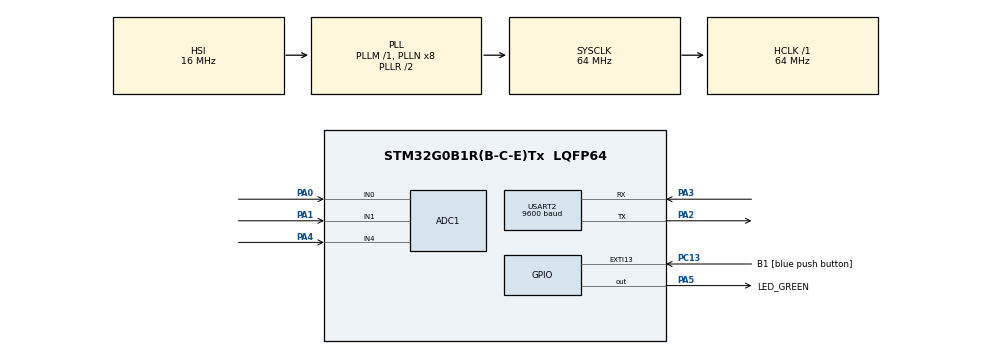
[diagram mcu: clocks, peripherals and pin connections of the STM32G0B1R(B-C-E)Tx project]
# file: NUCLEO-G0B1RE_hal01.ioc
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ADC1.Channel-4\#ChannelRegularConversion=ADC_CHANNEL_0
ADC1.Channel-5\#ChannelRegularConversion=ADC_CHANNEL_1
ADC1.Channel-6\#ChannelRegularConversion=ADC_CHANNEL_4
ADC1.ContinuousConvMode=ENABLE
ADC1.DMAContinuousRequests=DISABLE
ADC1.DiscontinuousConvMode=DISABLE
ADC1.EOCSelection=ADC_EOC_SEQ_CONV
ADC1.NbrOfConversion=3
ADC1.NbrOfConversionFlag=1
ADC1.Overrun=ADC_OVR_DATA_OVERWRITTEN
ADC1.Rank-4\#ChannelRegularConversion=1
ADC1.Rank-5\#ChannelRegularConversion=2
ADC1.Rank-6\#ChannelRegularConversion=3
ADC1.SamplingTime-4\#ChannelRegularConversion=ADC_SAMPLINGTIME_COMMON_1
ADC1.SamplingTime-5\#ChannelRegularConversion=ADC_SAMPLINGTIME_COMMON_1
ADC1.SamplingTime-6\#ChannelRegularConversion=ADC_SAMPLINGTIME_COMMON_1
ADC1.SamplingTimeCommon2=ADC_SAMPLETIME_160CYCLES_5
ADC1.SelectedChannel=ADC_CHANNEL_0|ADC_CHANNEL_1|ADC_CHANNEL_4
ADC1.Sequencer=FULLY_CONFIGURABLE
ADC1.master=1
Dma.ADC1.0.Direction=DMA_PERIPH_TO_MEMORY
Dma.ADC1.0.EventEnable=DISABLE
Dma.ADC1.0.Instance=DMA1_Channel1
Dma.ADC1.0.MemDataAlignment=DMA_MDATAALIGN_HALFWORD
Dma.ADC1.0.MemInc=DMA_MINC_ENABLE
Dma.ADC1.0.Mode=DMA_NORMAL
Dma.ADC1.0.PeriphDataAlignment=DMA_PDATAALIGN_HALFWORD
Dma.ADC1.0.PeriphInc=DMA_PINC_DISABLE
Dma.ADC1.0.Polarity=HAL_DMAMUX_REQ_GEN_RISING
Dma.ADC1.0.Priority=DMA_PRIORITY_HIGH
Dma.ADC1.0.RequestNumber=1
Dma.ADC1.0.SignalID=NONE
Dma.ADC1.0.SyncEnable=DISABLE
Dma.ADC1.0.SyncPolarity=HAL_DMAMUX_SYNC_NO_EVENT
Dma.ADC1.0.SyncRequestNumber=1
Dma.ADC1.0.SyncSignalID=NONE
Dma.Request0=ADC1
Mcu.Family=STM32G0
Mcu.Name=STM32G0B1R(B-C-E)Tx
Mcu.Package=LQFP64
NVIC.ADC1_COMP_IRQn=true\:0\:0\:false\:false\:true\:true\:true\:true
NVIC.DMA1_Channel1_IRQn=true\:0\:0\:false\:false\:true\:false\:true\:true
NVIC.TIM6_DAC_LPTIM1_IRQn=true\:0\:0\:false\:false\:true\:true\:true\:true
NVIC.USART2_LPUART2_IRQn=true\:0\:0\:false\:false\:true\:true\:true\:true
PA0.Mode=IN0
PA0.Signal=ADC1_IN0
PA1.Mode=IN1
PA1.Signal=ADC1_IN1
PA13.GPIO_Label=TMS
PA13.Signal=SYS_SWDIO
PA14-BOOT0.GPIO_Label=TCK
PA14-BOOT0.Signal=SYS_SWCLK
PA2.Mode=Asynchronous
PA2.Signal=USART2_TX
PA3.Mode=Asynchronous
PA3.Signal=USART2_RX
PA4.Mode=IN4
PA4.Signal=ADC1_IN4
PA5.GPIO_Label=LED_GREEN
PA5.GPIO_Speed=GPIO_SPEED_FREQ_HIGH
PA5.Signal=GPIO_Output
PC13.GPIO_Label=B1 [blue push button]
PC13.Signal=GPXTI13
PC14-OSC32_IN\ (PC14).Mode=LSE-External-Oscillator
PC14-OSC32_IN\ (PC14).Signal=RCC_OSC32_IN
PC15-OSC32_OUT\ (PC15).Mode=LSE-External-Oscillator
PC15-OSC32_OUT\ (PC15).Signal=RCC_OSC32_OUT
PF0-OSC_IN\ (PF0).GPIO_Label=MCO
PF0-OSC_IN\ (PF0).Signal=RCC_OSC_IN
ProjectManager.HeapSize=0x200
ProjectManager.StackSize=0x400
ProjectManager.TargetToolchain=STM32CubeIDE
RCC.ADCFreq_Value=64000000
RCC.AHBFreq_Value=64000000
RCC.CortexFreq_Value=64000000
RCC.EXTERNAL_CLOCK_VALUE=12288000
RCC.HCLKFreq_Value=64000000
RCC.HSE_VALUE=8000000
RCC.HSI48_VALUE=48000000
RCC.HSI_VALUE=16000000
RCC.SYSCLKFreq_VALUE=64000000
RCC.SYSCLKSource=RCC_SYSCLKSOURCE_PLLCLK
RCC.USBFreq_Value=48000000
RCC.VCOOutputFreq_Value=128000000
TIM6.Period=8000-1
TIM6.Prescaler=8-1
USART2.BaudRate=9600
USART2.FIFOMode=FIFOMODE_ENABLE
USART2.VirtualMode-Asynchronous=VM_ASYNC
VP_SYS_VS_DBSignals.Mode=DisableDeadBatterySignals
VP_TIM6_VS_ClockSourceINT.Mode=Enable_Timer
board=NUCLEO-G0B1RE

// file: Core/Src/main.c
/* USER CODE BEGIN Header */
/**
  ******************************************************************************
  * @file           : main.c
  * @brief          : Main program body
  ******************************************************************************
  * @attention
  *
  * Copyright (c) 2024 STMicroelectronics.
  * All rights reserved.
  *
  * This software is licensed under terms that can be found in the LICENSE file
  * in the root directory of this software component.
  * If no LICENSE file comes with this software, it is provided AS-IS.
  *
  ******************************************************************************
  */
/* USER CODE END Header */
#include "main.h"

/* USER CODE BEGIN Includes */
#include "lib.h"
/* USER CODE END Includes */

ADC_HandleTypeDef hadc1;
DMA_HandleTypeDef hdma_adc1;

TIM_HandleTypeDef htim6;

UART_HandleTypeDef huart2;

/* USER CODE BEGIN PV */
volatile static uint32_t u32s_CycleTimeCounter;		/* 周期時間カウンター			*/
/* USER CODE END PV */

void SystemClock_Config(void);
static void MX_GPIO_Init(void);
static void MX_DMA_Init(void);
static void MX_TIM6_Init(void);
static void MX_USART2_UART_Init(void);
static void MX_ADC1_Init(void);

/* USER CODE BEGIN 0 */

/**
  * @brief Period elapsed callback in non-blocking mode
  * @param htim TIM handle
  * @retval None
  */
void HAL_TIM_PeriodElapsedCallback(TIM_HandleTypeDef *htim)
{
	if (htim == &htim6) {
		u32s_CycleTimeCounter++;
	}
}

/* USER CODE END 0 */

int main(void)
{

  /* MCU Configuration--------------------------------------------------------*/

  /* Reset of all peripherals, Initializes the Flash interface and the Systick. */
  HAL_Init();

  /* USER CODE BEGIN Init */
	u32s_CycleTimeCounter = 0;
  /* USER CODE END Init */

  /* Configure the system clock */
  SystemClock_Config();

  /* USER CODE BEGIN SysInit */
	/* タイマー初期化処理 */
	taskTimerInit();
  /* USER CODE END SysInit */

  /* Initialize all configured peripherals */
  MX_GPIO_Init();
  MX_DMA_Init();
  MX_TIM6_Init();
  MX_USART2_UART_Init();
  MX_ADC1_Init();
  /* USER CODE BEGIN 2 */
	/* 初期化関数 */
	setup();

	/* TIM6のタイマー開始(1msタイマー割り込み用) */
	if (HAL_TIM_Base_Start_IT(&htim6) != HAL_OK) {
		/* Starting Error */
		Error_Handler();
	}
  /* USER CODE END 2 */

  /* Infinite loop */
  /* USER CODE BEGIN WHILE */
	while (true) {
    /* USER CODE END WHILE */

    /* USER CODE BEGIN 3 */
		/* 周期時間カウンターがシステムの周期時間[ms]に達した場合 */
		if (u32s_CycleTimeCounter >= SYS_CYCLE_TIME) {
			/* Disable Interrupts */
			__disable_irq();
			u32s_CycleTimeCounter = 0;
			/* Enable Interrupts */
			__enable_irq();

			/* タイマー更新処理 */
			taskTimerUpdate();
			/* 周期処理関数 */
			loop();
		}
	}
  /* USER CODE END 3 */
}

void SystemClock_Config(void)
{
  RCC_OscInitTypeDef RCC_OscInitStruct = {0};
  RCC_ClkInitTypeDef RCC_ClkInitStruct = {0};

  /** Configure the main internal regulator output voltage
  */
  HAL_PWREx_ControlVoltageScaling(PWR_REGULATOR_VOLTAGE_SCALE1);

  /** Initializes the RCC Oscillators according to the specified parameters
  * in the RCC_OscInitTypeDef structure.
  */
  RCC_OscInitStruct.OscillatorType = RCC_OSCILLATORTYPE_HSI;
  RCC_OscInitStruct.HSIState = RCC_HSI_ON;
  RCC_OscInitStruct.HSIDiv = RCC_HSI_DIV1;
  RCC_OscInitStruct.HSICalibrationValue = RCC_HSICALIBRATION_DEFAULT;
  RCC_OscInitStruct.PLL.PLLState = RCC_PLL_ON;
  RCC_OscInitStruct.PLL.PLLSource = RCC_PLLSOURCE_HSI;
  RCC_OscInitStruct.PLL.PLLM = RCC_PLLM_DIV1;
  RCC_OscInitStruct.PLL.PLLN = 8;
  RCC_OscInitStruct.PLL.PLLP = RCC_PLLP_DIV2;
  RCC_OscInitStruct.PLL.PLLQ = RCC_PLLQ_DIV2;
  RCC_OscInitStruct.PLL.PLLR = RCC_PLLR_DIV2;
  if (HAL_RCC_OscConfig(&RCC_OscInitStruct) != HAL_OK)
  {
    Error_Handler();
  }

  /** Initializes the CPU, AHB and APB buses clocks
  */
  RCC_ClkInitStruct.ClockType = RCC_CLOCKTYPE_HCLK|RCC_CLOCKTYPE_SYSCLK
                              |RCC_CLOCKTYPE_PCLK1;
  RCC_ClkInitStruct.SYSCLKSource = RCC_SYSCLKSOURCE_PLLCLK;
  RCC_ClkInitStruct.AHBCLKDivider = RCC_SYSCLK_DIV1;
  RCC_ClkInitStruct.APB1CLKDivider = RCC_HCLK_DIV1;

  if (HAL_RCC_ClockConfig(&RCC_ClkInitStruct, FLASH_LATENCY_2) != HAL_OK)
  {
    Error_Handler();
  }
}

static void MX_ADC1_Init(void)
{

  ADC_ChannelConfTypeDef sConfig = {0};

  /** Configure the global features of the ADC (Clock, Resolution, Data Alignment and number of conversion)
  */
  hadc1.Instance = ADC1;
  hadc1.Init.ClockPrescaler = ADC_CLOCK_SYNC_PCLK_DIV2;
  hadc1.Init.Resolution = ADC_RESOLUTION_12B;
  hadc1.Init.DataAlign = ADC_DATAALIGN_RIGHT;
  hadc1.Init.ScanConvMode = ADC_SCAN_ENABLE;
  hadc1.Init.EOCSelection = ADC_EOC_SEQ_CONV;
  hadc1.Init.LowPowerAutoWait = DISABLE;
  hadc1.Init.LowPowerAutoPowerOff = DISABLE;
  hadc1.Init.ContinuousConvMode = ENABLE;
  hadc1.Init.NbrOfConversion = 3;
  hadc1.Init.DiscontinuousConvMode = DISABLE;
  hadc1.Init.ExternalTrigConv = ADC_SOFTWARE_START;
  hadc1.Init.ExternalTrigConvEdge = ADC_EXTERNALTRIGCONVEDGE_NONE;
  hadc1.Init.DMAContinuousRequests = DISABLE;
  hadc1.Init.Overrun = ADC_OVR_DATA_OVERWRITTEN;
  hadc1.Init.SamplingTimeCommon1 = ADC_SAMPLETIME_1CYCLE_5;
  hadc1.Init.SamplingTimeCommon2 = ADC_SAMPLETIME_160CYCLES_5;
  hadc1.Init.OversamplingMode = DISABLE;
  hadc1.Init.TriggerFrequencyMode = ADC_TRIGGER_FREQ_HIGH;
  if (HAL_ADC_Init(&hadc1) != HAL_OK)
  {
    Error_Handler();
  }

  /** Configure Regular Channel
  */
  sConfig.Channel = ADC_CHANNEL_0;
  sConfig.Rank = ADC_REGULAR_RANK_1;
  sConfig.SamplingTime = ADC_SAMPLINGTIME_COMMON_1;
  if (HAL_ADC_ConfigChannel(&hadc1, &sConfig) != HAL_OK)
  {
    Error_Handler();
  }

  /** Configure Regular Channel
  */
  sConfig.Channel = ADC_CHANNEL_1;
  sConfig.Rank = ADC_REGULAR_RANK_2;
  if (HAL_ADC_ConfigChannel(&hadc1, &sConfig) != HAL_OK)
  {
    Error_Handler();
  }

  /** Configure Regular Channel
  */
  sConfig.Channel = ADC_CHANNEL_4;
  sConfig.Rank = ADC_REGULAR_RANK_3;
  if (HAL_ADC_ConfigChannel(&hadc1, &sConfig) != HAL_OK)
  {
    Error_Handler();
  }

}

static void MX_TIM6_Init(void)
{

  TIM_MasterConfigTypeDef sMasterConfig = {0};

  htim6.Instance = TIM6;
  htim6.Init.Prescaler = 8-1;
  htim6.Init.CounterMode = TIM_COUNTERMODE_UP;
  htim6.Init.Period = 8000-1;
  htim6.Init.AutoReloadPreload = TIM_AUTORELOAD_PRELOAD_DISABLE;
  if (HAL_TIM_Base_Init(&htim6) != HAL_OK)
  {
    Error_Handler();
  }
  sMasterConfig.MasterOutputTrigger = TIM_TRGO_RESET;
  sMasterConfig.MasterSlaveMode = TIM_MASTERSLAVEMODE_DISABLE;
  if (HAL_TIMEx_MasterConfigSynchronization(&htim6, &sMasterConfig) != HAL_OK)
  {
    Error_Handler();
  }

}

static void MX_USART2_UART_Init(void)
{

  huart2.Instance = USART2;
  huart2.Init.BaudRate = 9600;
  huart2.Init.WordLength = UART_WORDLENGTH_8B;
  huart2.Init.StopBits = UART_STOPBITS_1;
  huart2.Init.Parity = UART_PARITY_NONE;
  huart2.Init.Mode = UART_MODE_TX_RX;
  huart2.Init.HwFlowCtl = UART_HWCONTROL_NONE;
  huart2.Init.OverSampling = UART_OVERSAMPLING_16;
  huart2.Init.OneBitSampling = UART_ONE_BIT_SAMPLE_DISABLE;
  huart2.Init.ClockPrescaler = UART_PRESCALER_DIV1;
  huart2.AdvancedInit.AdvFeatureInit = UART_ADVFEATURE_NO_INIT;
  if (HAL_UART_Init(&huart2) != HAL_OK)
  {
    Error_Handler();
  }
  if (HAL_UARTEx_SetTxFifoThreshold(&huart2, UART_TXFIFO_THRESHOLD_1_8) != HAL_OK)
  {
    Error_Handler();
  }
  if (HAL_UARTEx_SetRxFifoThreshold(&huart2, UART_RXFIFO_THRESHOLD_1_8) != HAL_OK)
  {
    Error_Handler();
  }
  if (HAL_UARTEx_EnableFifoMode(&huart2) != HAL_OK)
  {
    Error_Handler();
  }

}

static void MX_DMA_Init(void)
{

  /* DMA controller clock enable */
  __HAL_RCC_DMA1_CLK_ENABLE();

  /* DMA interrupt init */
  /* DMA1_Channel1_IRQn interrupt configuration */
  HAL_NVIC_SetPriority(DMA1_Channel1_IRQn, 0, 0);
  HAL_NVIC_EnableIRQ(DMA1_Channel1_IRQn);

}

static void MX_GPIO_Init(void)
{
  GPIO_InitTypeDef GPIO_InitStruct = {0};

  /* GPIO Ports Clock Enable */
  __HAL_RCC_GPIOC_CLK_ENABLE();
  __HAL_RCC_GPIOF_CLK_ENABLE();
  __HAL_RCC_GPIOA_CLK_ENABLE();

  /*Configure GPIO pin Output Level */
  HAL_GPIO_WritePin(LED_GREEN_GPIO_Port, LED_GREEN_Pin, GPIO_PIN_RESET);

  /*Configure GPIO pin : B1_Pin */
  GPIO_InitStruct.Pin = B1_Pin;
  GPIO_InitStruct.Mode = GPIO_MODE_IT_RISING;
  GPIO_InitStruct.Pull = GPIO_NOPULL;
  HAL_GPIO_Init(B1_GPIO_Port, &GPIO_InitStruct);

  /*Configure GPIO pin : LED_GREEN_Pin */
  GPIO_InitStruct.Pin = LED_GREEN_Pin;
  GPIO_InitStruct.Mode = GPIO_MODE_OUTPUT_PP;
  GPIO_InitStruct.Pull = GPIO_NOPULL;
  GPIO_InitStruct.Speed = GPIO_SPEED_FREQ_HIGH;
  HAL_GPIO_Init(LED_GREEN_GPIO_Port, &GPIO_InitStruct);

}

void Error_Handler(void)
{
  __disable_irq();
  while (1)
  {
  }
}
